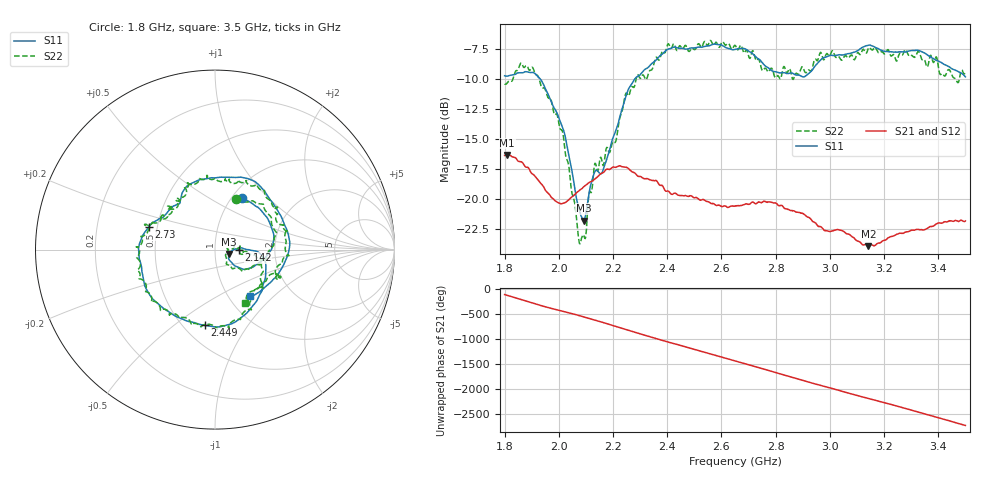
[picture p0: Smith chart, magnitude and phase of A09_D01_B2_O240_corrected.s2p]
! Created with skrf 1.9.0 (http://scikit-rf.org).
# Hz S RI R 50.0
!freq ReS11 ImS11 ReS21 ImS21 ReS12 ImS12 ReS22 ImS22
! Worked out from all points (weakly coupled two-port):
!   1601 points, 1.8 GHz to 3.5 GHz, reference 50 ohm
!   highest |S21| = -16.31 dB at 1.81 GHz (marker M1); lowest = -23.9 dB at 3.142 GHz (marker M2)
!   lowest |S11| = -21.8 dB at 2.091 GHz (marker M3), VSWR 1.18, Z = 58.4 - j2.86 ohm
!   |S11| at or under -10 dB: 1.933 GHz to 2.279 GHz (346.5 MHz wide, 16.5 % of centre)
!   |S22| runs from -23.7 to -6.8 dB; largest |S21 - S12| = 0.0031
!   S11 on the Smith chart (normalised r, x): 1.8 GHz: 1.12, +0.72; 2.142 GHz: 1.30, -0.01; 2.449 GHz: 0.63, -0.65; 2.73 GHz: 0.45, +0.13; 3.5 GHz: 1.25, -0.72
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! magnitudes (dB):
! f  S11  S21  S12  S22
! 1.8 GHz  -9.7  -16.3  -16.3  -10.4
! 1.81 GHz  -9.7  -16.3  -16.3  -10.3
! 1.901 GHz  -9.4  -17.9  -17.8  -9.0
! 1.968 GHz  -11.6  -19.7  -19.7  -11.6
! 2.014 GHz  -14.0  -20.4  -20.4  -14.4
! 2.073 GHz  -20.7  -19.3  -19.3  -23.3
! 2.084 GHz  -21.5  -19.1  -19.1  -23.3
! 2.091 GHz  -21.8  -19.0  -19.0  -23.0
! 2.142 GHz  -17.6  -18.2  -18.1  -17.6
! 2.163 GHz  -17.6  -17.8  -17.7  -17.2
! 2.208 GHz  -14.4  -17.3  -17.3  -15.3
! 2.261 GHz  -10.6  -17.5  -17.6  -11.2
! 2.367 GHz  -8.2  -18.7  -18.6  -8.4
! 2.449 GHz  -7.4  -19.7  -19.7  -7.3
! 2.65 GHz  -7.5  -20.6  -20.6  -7.2
! 2.73 GHz  -8.2  -20.4  -20.4  -8.4
! 2.81 GHz  -9.4  -20.5  -20.4  -9.7
! 2.934 GHz  -9.3  -21.8  -21.8  -9.2
! 3.142 GHz  -7.2  -23.9  -23.8  -7.4
! 3.217 GHz  -7.7  -23.2  -23.2  -7.6
! 3.331 GHz  -7.6  -22.6  -22.6  -7.8
! 3.5 GHz  -9.8  -21.8  -21.8  -9.4
